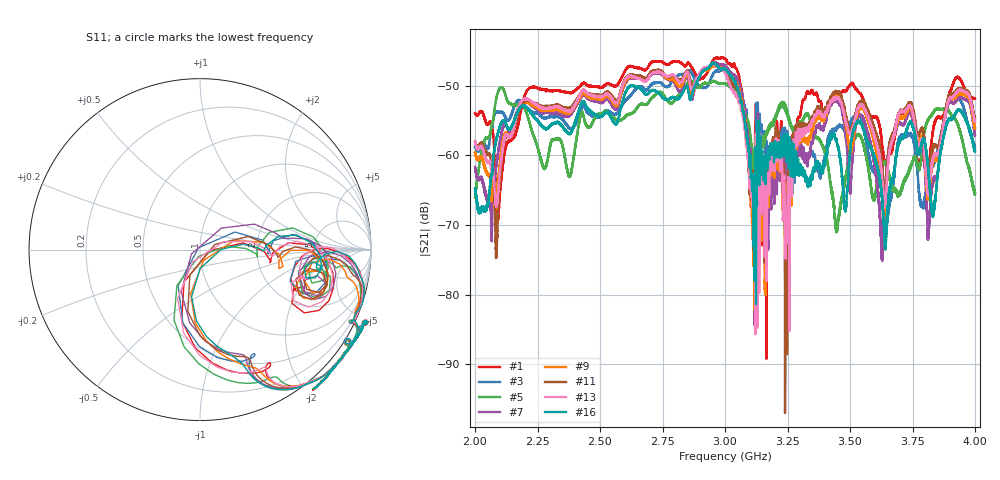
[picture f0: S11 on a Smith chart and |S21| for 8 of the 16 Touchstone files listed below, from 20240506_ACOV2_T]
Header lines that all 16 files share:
!Agilent Technologies,N5230C,SG49000117,A.08.50.07
!Agilent N5230C: A.08.50.07
!Correction: S11(Full 2 Port(1,2))
!S21(Full 2 Port(1,2))
!S12(Full 2 Port(1,2))
!S22(Full 2 Port(1,2))
!S2P File: Measurements: S11, S21, S12, S22:
# Hz S  MA  R 50
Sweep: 2 GHz to 4 GHz
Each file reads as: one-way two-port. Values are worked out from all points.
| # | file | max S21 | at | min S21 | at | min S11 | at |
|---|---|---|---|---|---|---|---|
| 1 | DL_wg_1_4K.s2p | -45.91 dB | 2.988 GHz | -89.2 dB | 3.166 GHz | -28.4 dB | 3.118 GHz |
| 2 | DL_wg_2_4K.s2p | -47.44 dB | 2.996 GHz | -108.3 dB | 3.645 GHz | -23.0 dB | 3.118 GHz |
| 3 | DL_wg_3_4K.s2p | -47.75 dB | 2.857 GHz | -75.9 dB | 3.116 GHz | -37.3 dB | 3.117 GHz |
| 4 | DL_wg_4_4K.s2p | -48.85 dB | 2.998 GHz | -83.6 dB | 3.664 GHz | -29.9 dB | 3.116 GHz |
| 5 | DL_wg_5_4K.s2p | -49.26 dB | 2.863 GHz | -73.6 dB | 3.117 GHz | -30.7 dB | 3.117 GHz |
| 6 | DL_wg_6_4K.s2p | -47.73 dB | 2.961 GHz | -69.6 dB | 4 GHz | -32.5 dB | 3.118 GHz |
| 7 | Ring_2_4K.s2p | -46.62 dB | 2.956 GHz | -84.3 dB | 3.117 GHz | -31.0 dB | 3.118 GHz |
| 8 | Ring_3_4K.s2p | -47.24 dB | 2.911 GHz | -90.7 dB | 3.825 GHz | -17.2 dB | 3.117 GHz |
| 9 | Ring_8_4K.s2p | -47.09 dB | 2.957 GHz | -84.3 dB | 3.242 GHz | -24.7 dB | 3.119 GHz |
| 10 | Ring_9_4K.s2p | -47.12 dB | 2.953 GHz | -98.8 dB | 3.168 GHz | -14.2 dB | 3.117 GHz |
| 11 | Ring_14_4K.s2p | -46.88 dB | 2.956 GHz | -97.0 dB | 3.24 GHz | -30.2 dB | 3.119 GHz |
| 12 | Ring_15_4K.s2p | -47.13 dB | 2.952 GHz | -95.1 dB | 3.247 GHz | -14.0 dB | 3.117 GHz |
| 13 | Ring_20_4K.s2p | -46.85 dB | 2.956 GHz | -85.7 dB | 3.122 GHz | -33.5 dB | 3.119 GHz |
| 14 | Ring_21_4K.s2p | -46.61 dB | 2.953 GHz | -91.0 dB | 3.645 GHz | -16.4 dB | 3.118 GHz |
| 15 | Ring_26_4K.s2p | -47.12 dB | 2.957 GHz | -81.4 dB | 3.12 GHz | -30.1 dB | 3.121 GHz |
| 16 | Ring_27_4K.s2p | -46.69 dB | 2.954 GHz | -81.4 dB | 3.124 GHz | -22.9 dB | 3.119 GHz |
